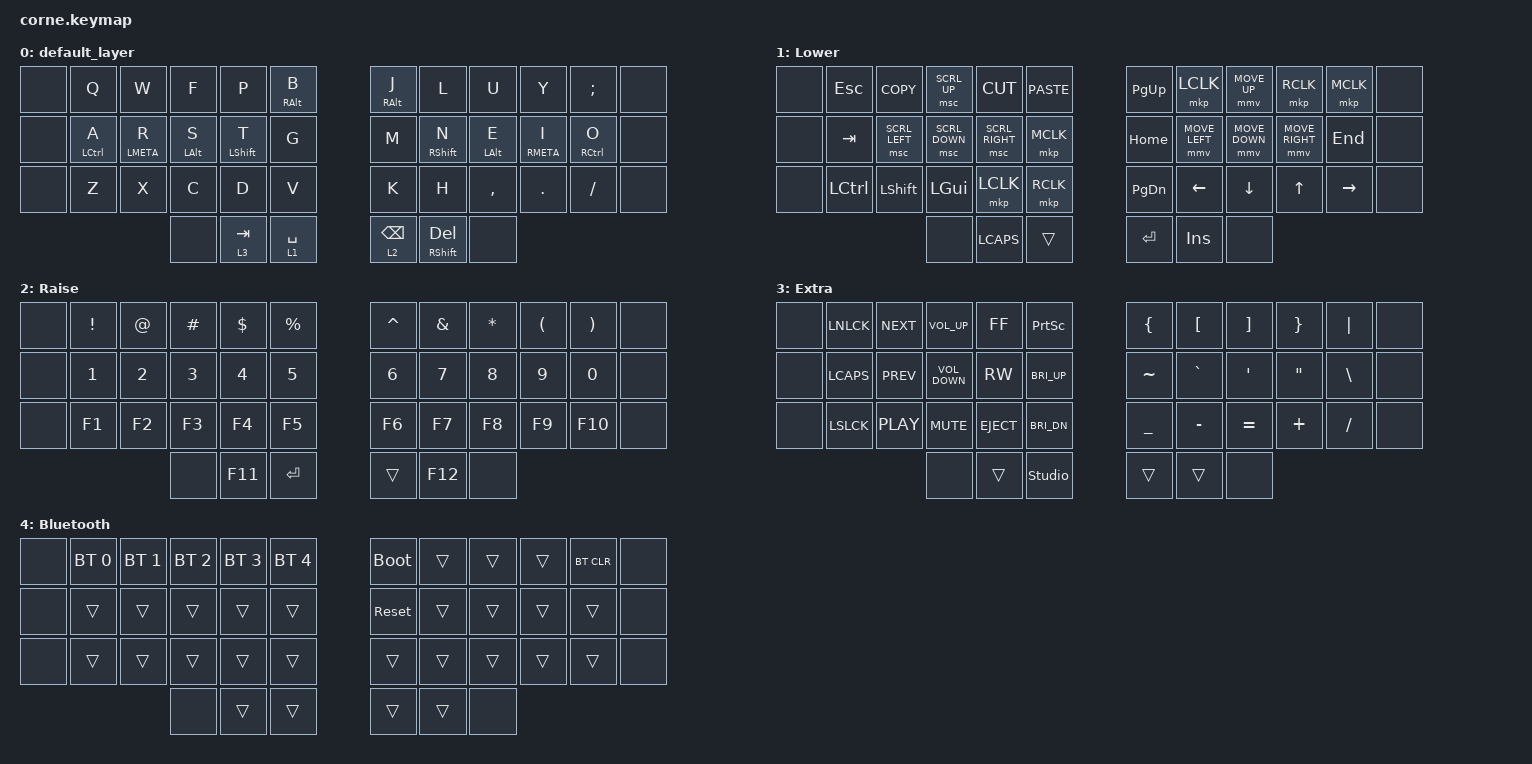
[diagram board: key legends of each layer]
/*
 * Copyright (c) 2020 The ZMK Contributors
 *
 * SPDX-License-Identifier: MIT
 */

// https://zmk.dev/docs/keymaps/behaviors/hold-tap?examples=home_row_mods
// https://github.com/urob/zmk-config?tab=readme-ov-file

// Includes
#include <behaviors.dtsi>
#include <dt-bindings/zmk/bt.h>
#include <dt-bindings/zmk/keys.h>

// Mouse defines/includes
#define ZMK_POINTING_DEFAULT_MOVE_VAL 1800  // default: 600
#define ZMK_POINTING_DEFAULT_SCRL_VAL 20    // default: 10
#include <dt-bindings/zmk/pointing.h>
#define U_MS_U &mmv MOVE_UP
#define U_MS_D &mmv MOVE_DOWN
#define U_MS_L &mmv MOVE_LEFT
#define U_MS_R &mmv MOVE_RIGHT
#define U_WH_U &msc SCRL_UP
#define U_WH_D &msc SCRL_DOWN
#define U_WH_L &msc SCRL_LEFT
#define U_WH_R &msc SCRL_RIGHT

//  Key Groups
#define KEYS_L 0 1 2 3 4 5 12 13 14 15 16 17 24 25 26 27 28 29
#define KEYS_R 6 7 8 9 10 11 18 19 20 21 22 23 30 31 32 33 34 35
#define THUMBS 36 37 38 39 40 41 

/ {
    combos {
        compatible = "zmk,combos";
        //combo_lshift {
        //    timeout-ms = <50>;
        //    key-positions = <13 14>;
        //    bindings = <&kp LSHIFT>;
        //};
        //combo_rshift {
        //    timeout-ms = <50>;
        //    key-positions = <21 22>;
        //    bindings = <&kp RSHIFT>;
        //};
        bluetooth {
            bindings = <&mo 4>;
            key-positions = <37 40>;
        };
    };

    behaviors {
        mt: mod_tap {
            flavor = "tap-preferred";  // hold-preferred
            tapping-term-ms = <150>;   // 200
            quick-tap-ms = <150>;      // 0
        };
        
        lt: layer_tap {
            flavor = "tap-preferred";  // tap-preferred
            tapping-term-ms = <150>;   // 200
            quick-tap-ms = <150>;      // 0
        };

        mmv: mouse_move {
          acceleration-exponent = <1>;   // 1
          time-to-max-speed-ms = <750>;  // 300
          delay-ms = <0>;                // 0
        };

        msc: mouse_scroll {
            acceleration-exponent = <0>;  // 0
            time-to-max-speed-ms = <1>;   // 300
            delay-ms = <0>;               // 0
        };

        hml: home_row_mod_left {
            compatible = "zmk,behavior-hold-tap";
            #binding-cells = <2>;
            bindings = <&kp>, <&kp>;
            tapping-term-ms = <280>;
            quick-tap-ms = <175>;
            require-prior-idle-ms = <150>;
            flavor = "balanced";
            hold-trigger-key-positions = <KEYS_R THUMBS>;
            hold-trigger-on-release;
        };
    
        hmr: home_row_mod_right {
            compatible = "zmk,behavior-hold-tap";
            #binding-cells = <2>;
            bindings = <&kp>, <&kp>;
            tapping-term-ms = <280>;
            quick-tap-ms = <175>;
            require-prior-idle-ms = <150>;
            flavor = "balanced";
            hold-trigger-key-positions = <KEYS_L THUMBS>;
            hold-trigger-on-release;
        };
    };

    keymap {
        compatible = "zmk,keymap";
        default_layer {
            bindings = <
&none  &kp Q         &kp W         &kp F        &kp P          &hml RALT B  &hmr RALT J      &kp L            &kp U        &kp Y         &kp SEMI      &none
&none  &hml LCTRL A  &hml LMETA R  &hml LALT S  &hml LSHIFT T  &kp G        &kp  M           &hmr RSHIFT N    &hmr LALT E  &hmr RMETA I  &hmr RCTRL O  &none
&none  &kp  Z        &kp X         &kp C        &kp D          &kp V        &kp  K           &kp H            &kp COMMA    &kp PERIOD    &kp SLASH     &none
                                   &none        &lt 3 TAB      &lt 1 SPACE  &lt 2 BACKSPACE  &mt RSHIFT DEL   &none
            >;
        };

        Lower {
            bindings = <
&none  &kp ESC    &kp K_COPY  U_WH_U        &kp K_CUT   &kp K_PASTE  &kp PAGE_UP    &mkp LCLK  U_MS_U    &mkp RCLK  &mkp MCLK  &none
&none  &kp TAB    U_WH_L      U_WH_D        U_WH_R      &mkp MCLK    &kp HOME       U_MS_L     U_MS_D    U_MS_R     &kp END    &none
&none  &kp LCTRL  &kp LSHFT   &kp LEFT_GUI  &mkp LCLK   &mkp RCLK    &kp PAGE_DOWN  &kp LEFT   &kp DOWN  &kp UP     &kp RIGHT  &none
                              &none         &kp LCAPS   &trans       &kp RET        &kp INS    &none
            >;
        };

        Raise {
            bindings = <
&none  &kp EXCL  &kp AT  &kp HASH  &kp DOLLAR  &kp PERCENT  &kp CARET  &kp AMPS  &kp ASTERISK  &kp LPAR  &kp RPAR  &none
&none  &kp N1    &kp N2  &kp N3    &kp N4      &kp N5       &kp N6     &kp N7    &kp N8        &kp N9    &kp N0    &none
&none  &kp F1    &kp F2  &kp F3    &kp F4      &kp F5       &kp F6     &kp F7    &kp F8        &kp F9    &kp F10   &none
                         &none     &kp F11     &kp RET      &trans     &kp F12   &none
            >;
        };

        Extra {
            bindings = <
&none  &kp LNLCK  &kp C_NEXT  &kp C_VOLUME_UP    &kp C_FF     &kp PSCRN       &kp LBRC   &kp LBKT   &kp RBKT   &kp RBRC  &kp PIPE   &none
&none  &kp LCAPS  &kp C_PREV  &kp C_VOLUME_DOWN  &kp C_RW     &kp C_BRI_UP    &kp TILDE  &kp GRAVE  &kp SQT    &kp DQT   &kp BSLH   &none
&none  &kp LSLCK  &kp C_PLAY  &kp C_MUTE         &kp C_EJECT  &kp C_BRI_DN    &kp UNDER  &kp MINUS  &kp EQUAL  &kp PLUS  &kp SLASH  &none
                                      &none      &trans       &studio_unlock  &trans     &trans     &none
            >;
        };

        Bluetooth {
            bindings = <
&none  &bt BT_SEL 0  &bt BT_SEL 1  &bt BT_SEL 2  &bt BT_SEL 3  &bt BT_SEL 4  &bootloader  &trans  &trans  &trans  &bt BT_CLR  &none
&none  &trans        &trans        &trans        &trans        &trans        &sys_reset   &trans  &trans  &trans  &trans      &none
&none  &trans        &trans        &trans        &trans        &trans        &trans       &trans  &trans  &trans  &trans      &none
                                   &none         &trans        &trans        &trans       &trans  &none
            >;
        };
    };
};
